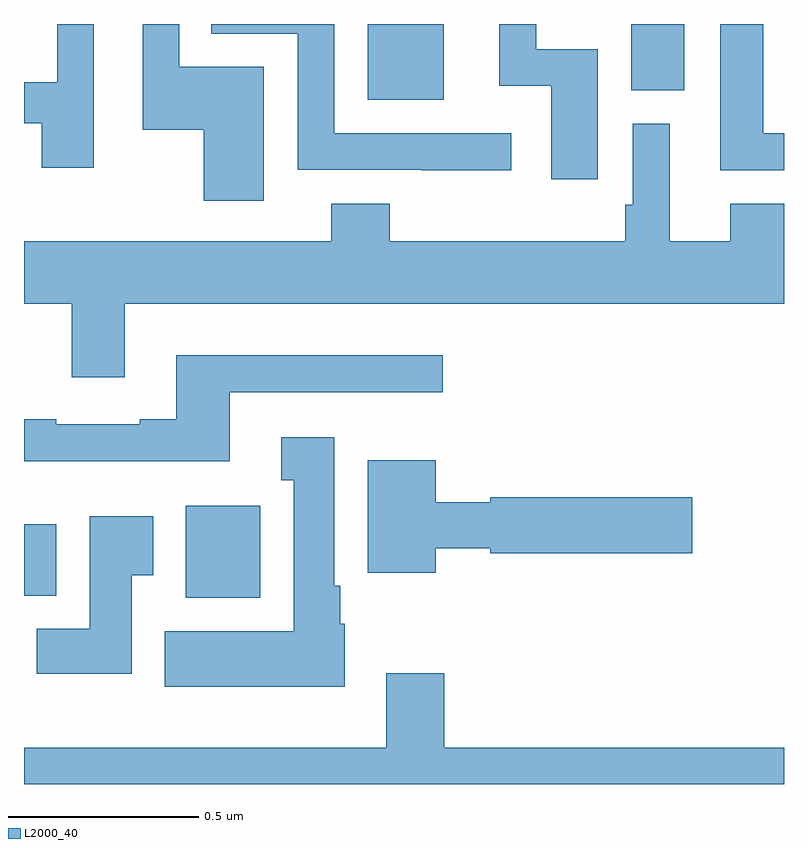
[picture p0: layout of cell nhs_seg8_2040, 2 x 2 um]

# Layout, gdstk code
import gdstk
lib = gdstk.Library(unit=1e-6, precision=1e-09)
def R(c, l, rs):  # rectangles x0, y0, x1, y1
    for r in rs: c.add(gdstk.rectangle(r[:2], r[2:], *l))
def P(c, l, *ps):  # polygons
    for p in ps: c.add(gdstk.Polygon(p, *l))
L2000_40 = (2000, 40)

nhs_seg8_2040 = lib.new_cell('nhs_seg8_2040')
R(nhs_seg8_2040, L2000_40, [(138.425,1118.39,138.622,1118.632), (138,1118.396,138.085,1118.584), (138.905,1119.701,139.105,1119.9), (139.598,1119.726,139.738,1119.9)])
P(nhs_seg8_2040, L2000_40, [(139.51,1119.834),(139.348,1119.834),(139.348,1119.9),(139.25,1119.9),(139.25,1119.738),(139.388,1119.738),(139.388,1119.492),(139.51,1119.492)],
  [(139.282,1119.612),(138.816,1119.612),(138.816,1119.9),(138.493,1119.9),(138.493,1119.875),(138.72,1119.875),(138.72,1119.516),(139.045,1119.516),(139.045,1119.515),(139.282,1119.515)],
  [(138.631,1119.787),(138.408,1119.787),(138.408,1119.9),(138.312,1119.9),(138.312,1119.622),(138.473,1119.622),(138.473,1119.435),(138.631,1119.435)],
  [(138.183,1119.9),(138.087,1119.9),(138.087,1119.747),(138,1119.747),(138,1119.639),(138.047,1119.639),(138.047,1119.522),(138.183,1119.522)],
  [(140,1119.612),(139.945,1119.612),(139.945,1119.9),(139.832,1119.9),(139.832,1119.515),(140,1119.515)],
  [(138.265,1119.164),(140,1119.164),(140,1119.427),(139.859,1119.427),(139.859,1119.328),(139.699,1119.328),(139.699,1119.637),(139.602,1119.637),(139.602,1119.424),(139.582,1119.424),(139.582,1119.328),(138.962,1119.328),(138.962,1119.427),(138.809,1119.427),(138.809,1119.328),(138,1119.328),(138,1119.164),(138.125,1119.164),(138.125,1118.97),(138.265,1118.97)],
  [(138.541,1118.931),(139.102,1118.931),(139.102,1119.028),(138.401,1119.028),(138.401,1118.86),(138.305,1118.86),(138.305,1118.847),(138.085,1118.847),(138.085,1118.86),(138,1118.86),(138,1118.75),(138.541,1118.75)],
  [(138.844,1118.322),(138.832,1118.322),(138.832,1118.422),(138.817,1118.422),(138.817,1118.812),(138.677,1118.812),(138.677,1118.699),(138.71,1118.699),(138.71,1118.302),(138.371,1118.302),(138.371,1118.156),(138.844,1118.156)],
  [(139.084,1118.52),(139.227,1118.52),(139.227,1118.507),(139.759,1118.507),(139.759,1118.654),(139.227,1118.654),(139.227,1118.641),(139.084,1118.641),(139.084,1118.752),(138.905,1118.752),(138.905,1118.456),(139.084,1118.456)],
  [(138.283,1118.449),(138.34,1118.449),(138.34,1118.605),(138.173,1118.605),(138.173,1118.308),(138.034,1118.308),(138.034,1118.19),(138.283,1118.19)],
  [(140,1117.996),(139.106,1117.996),(139.106,1118.191),(138.953,1118.191),(138.953,1117.996),(138,1117.996),(138,1117.9),(140,1117.9)])

lib.write_gds('nhs_seg8_2040.gds')
